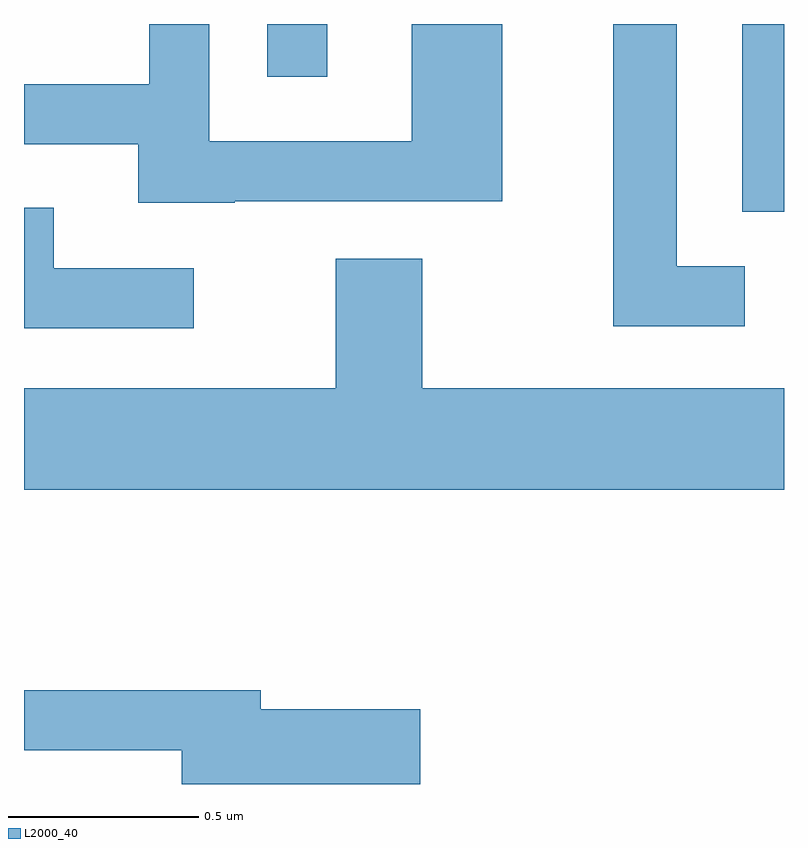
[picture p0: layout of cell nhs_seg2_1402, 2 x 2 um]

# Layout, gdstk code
import gdstk
lib = gdstk.Library(unit=1e-6, precision=1e-09)
def R(c, l, rs):  # rectangles x0, y0, x1, y1
    for r in rs: c.add(gdstk.rectangle(r[:2], r[2:], *l))
def P(c, l, *ps):  # polygons
    for p in ps: c.add(gdstk.Polygon(p, *l))
L2000_40 = (2000, 40)

nhs_seg2_1402 = lib.new_cell('nhs_seg2_1402')
R(nhs_seg2_1402, L2000_40, [(197.501,1011.308,197.611,1011.802), (196.251,1011.663,196.409,1011.802)])
P(nhs_seg2_1402, L2000_40, [(196.165,1011.336),(196.869,1011.336),(196.869,1011.802),(196.631,1011.802),(196.631,1011.494),(196.099,1011.494),(196.099,1011.802),(195.941,1011.802),(195.941,1011.644),(195.611,1011.644),(195.611,1011.486),(195.911,1011.486),(195.911,1011.331),(196.165,1011.331)],
  [(197.508,1011.164),(197.329,1011.164),(197.329,1011.802),(197.161,1011.802),(197.161,1011.006),(197.508,1011.006)],
  [(196.058,1011.159),(195.689,1011.159),(195.689,1011.319),(195.611,1011.319),(195.611,1011.001),(196.058,1011.001)],
  [(197.611,1010.844),(196.659,1010.844),(196.659,1011.184),(196.431,1011.184),(196.431,1010.844),(195.611,1010.844),(195.611,1010.576),(197.611,1010.576)],
  [(196.654,1009.999),(196.234,1009.999),(196.234,1010.049),(195.611,1010.049),(195.611,1009.891),(196.026,1009.891),(196.026,1009.802),(196.654,1009.802)])

lib.write_gds('nhs_seg2_1402.gds')
